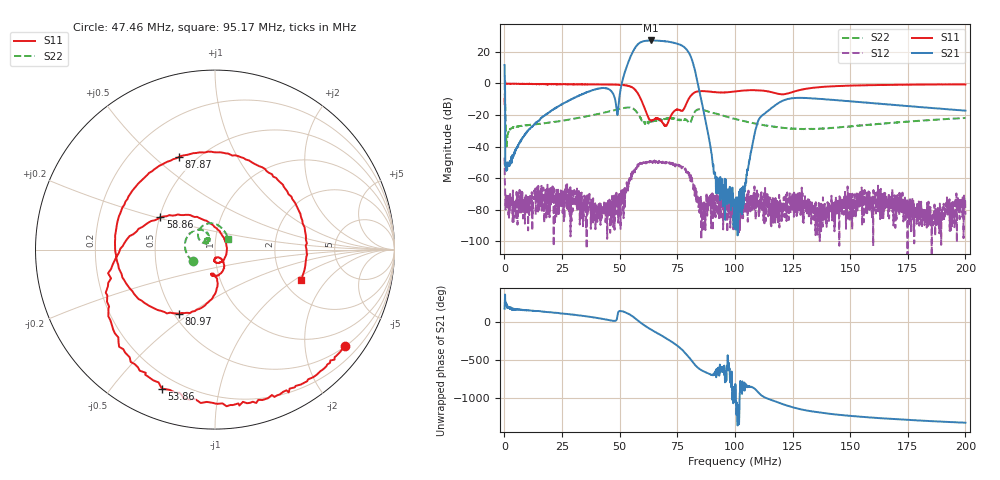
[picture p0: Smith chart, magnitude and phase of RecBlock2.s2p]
! 19-Feb-26 3:11:46 PM
! E:\VNA_MEASUREMENTS\RECBLOCK\RECBLOCK2.S2P
! CHANNEL.1
! TR.MEASUREMENT
! CORRECTED.DATA
# GHZ S RI R 50.0
! FREQ.GHZ  S11RE  S11IM  S21RE  S21IM  S12RE  S12IM  S22RE  S22IM
!; PortSelection: Port_12
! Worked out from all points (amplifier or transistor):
!   2000 points, 50 kHz to 200 MHz, reference 50 ohm
!   highest |S21| = 27.0 dB at 63.47 MHz (marker M1)
!   |S21| within 3 dB of that: 57.5 MHz to 76.6 MHz (19.1 MHz wide, 28.5 % of centre)
!   unconditionally stable (mu >= 1): start of sweep to 173.1 kHz; 297.7 kHz to end of sweep
!   at 33.36 MHz: K = 2219.34, MAG = 1.3 dB, |S12| = -82.7 dB
!   at 100.1 MHz: K = 33657249.78, MAG = -74.8 dB, |S12| = -83.3 dB
!   at 200 MHz: K = 8469.30, MAG = -9.4 dB, |S12| = -83.1 dB
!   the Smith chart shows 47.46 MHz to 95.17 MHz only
!   S11 on the Smith chart (normalised r, x): 47.46 MHz: 0.52, -2.94; 53.86 MHz: 0.14, -0.68; 58.86 MHz: 0.50, +0.21; 80.97 MHz: 0.53, -0.45; 87.87 MHz: 0.41, +0.60; 95.17 MHz: 2.47, -1.15
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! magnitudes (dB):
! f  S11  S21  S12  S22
! 50 kHz  -9.8  11.5  -47.0  -6.5
! 1.35 MHz  -0.3  -50.9  -73.7  -32.7
! 12.65 MHz  -0.5  -26.5  -73.3  -26.1
! 33.46 MHz  -0.7  -7.1  -69.1  -21.5
! 47.46 MHz  -0.9  -7.7  -77.7  -17.1
! 49.26 MHz  -1.0  -17.5  -72.7  -16.5
! 53.86 MHz  -1.6  13.9  -63.4  -15.3
! 58.86 MHz  -9.0  25.7  -51.0  -21.7
! 63.47 MHz  -23.5  27.0  -49.3  -24.4
! 66.77 MHz  -22.4  26.8  -50.3  -23.6
! 70.17 MHz  -26.9  26.4  -49.8  -22.6
! 80.97 MHz  -7.7  16.3  -61.3  -24.0
! 84.87 MHz  -5.0  -6.8  -72.4  -16.5
! 87.87 MHz  -5.1  -28.3  -81.3  -17.6
! 91.77 MHz  -5.7  -68.5  -81.4  -19.2
! 95.17 MHz  -5.8  -70.3  -82.0  -20.7
! 100.1 MHz  -5.2  -76.4  -83.3  -22.6
! 104.1 MHz  -4.6  -67.8  -76.1  -24.0
! 111 MHz  -4.6  -21.6  -73.8  -26.1
! 133.4 MHz  -2.9  -9.5  -80.4  -28.8
! 166.7 MHz  -1.1  -13.4  -73.2  -25.2
! 200 MHz  -0.8  -17.3  -83.1  -22.0
